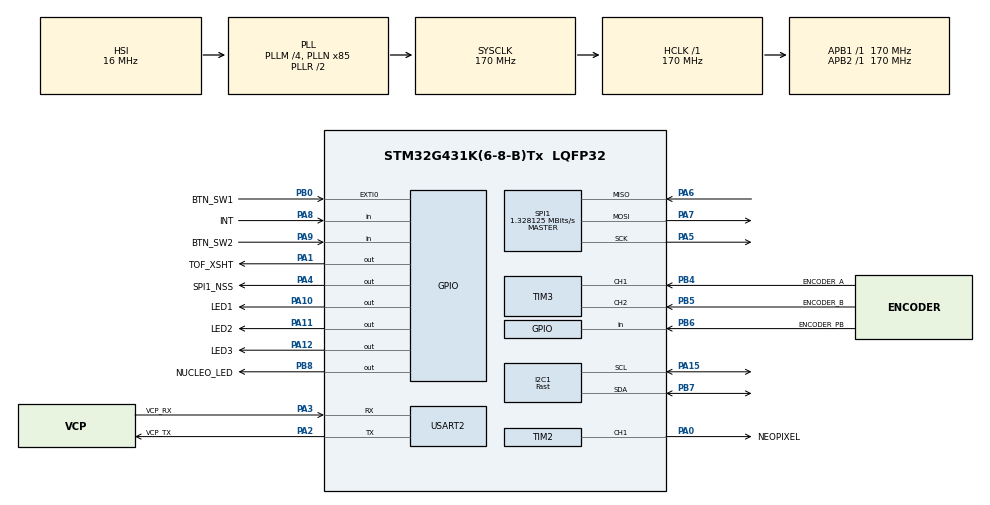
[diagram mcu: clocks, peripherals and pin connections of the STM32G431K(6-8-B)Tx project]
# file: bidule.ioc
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Dma.Request0=TIM2_CH1
Dma.TIM2_CH1.0.Direction=DMA_MEMORY_TO_PERIPH
Dma.TIM2_CH1.0.EventEnable=DISABLE
Dma.TIM2_CH1.0.Instance=DMA1_Channel1
Dma.TIM2_CH1.0.MemDataAlignment=DMA_MDATAALIGN_BYTE
Dma.TIM2_CH1.0.MemInc=DMA_MINC_ENABLE
Dma.TIM2_CH1.0.Mode=DMA_NORMAL
Dma.TIM2_CH1.0.PeriphDataAlignment=DMA_PDATAALIGN_WORD
Dma.TIM2_CH1.0.PeriphInc=DMA_PINC_DISABLE
Dma.TIM2_CH1.0.Polarity=HAL_DMAMUX_REQ_GEN_RISING
Dma.TIM2_CH1.0.Priority=DMA_PRIORITY_LOW
Dma.TIM2_CH1.0.RequestNumber=1
Dma.TIM2_CH1.0.SignalID=NONE
Dma.TIM2_CH1.0.SyncEnable=DISABLE
Dma.TIM2_CH1.0.SyncPolarity=HAL_DMAMUX_SYNC_NO_EVENT
Dma.TIM2_CH1.0.SyncRequestNumber=1
Dma.TIM2_CH1.0.SyncSignalID=NONE
I2C1.I2C_Speed_Mode=I2C_Fast
I2C1.Timing=0x40621236
Mcu.Family=STM32G4
Mcu.Name=STM32G431K(6-8-B)Tx
Mcu.Package=LQFP32
NVIC.DMA1_Channel1_IRQn=true\:0\:0\:false\:false\:true\:false\:true\:true
NVIC.I2C1_ER_IRQn=true\:0\:0\:false\:false\:true\:true\:true\:true
NVIC.I2C1_EV_IRQn=true\:0\:0\:false\:false\:true\:true\:true\:true
NVIC.PriorityGroup=NVIC_PRIORITYGROUP_4
NVIC.TIM2_IRQn=true\:0\:0\:false\:false\:true\:true\:true\:true
PA0.GPIO_Label=NEOPIXEL
PA0.Signal=S_TIM2_CH1
PA1.GPIO_Label=TOF_XSHT
PA1.Signal=GPIO_Output
PA10.GPIO_Label=LED1
PA10.Signal=GPIO_Output
PA11.GPIO_Label=LED2
PA11.Signal=GPIO_Output
PA12.GPIO_Label=LED3
PA12.Signal=GPIO_Output
PA13.GPIO_Label=T_SWDIO
PA13.Mode=Trace_Asynchronous_SW
PA13.Signal=SYS_JTMS-SWDIO
PA14.GPIO_Label=T_SWCLK
PA14.Mode=Trace_Asynchronous_SW
PA14.Signal=SYS_JTCK-SWCLK
PA15.GPIO_Pu=GPIO_PULLUP
PA15.Mode=I2C
PA15.Signal=I2C1_SCL
PA2.GPIO_Label=VCP_TX
PA2.Mode=Asynchronous
PA2.Signal=USART2_TX
PA3.GPIO_Label=VCP_RX
PA3.Mode=Asynchronous
PA3.Signal=USART2_RX
PA4.GPIO_Label=SPI1_NSS
PA4.PinState=GPIO_PIN_SET
PA4.Signal=GPIO_Output
PA5.GPIO_Speed=GPIO_SPEED_FREQ_LOW
PA5.Mode=Full_Duplex_Master
PA5.Signal=SPI1_SCK
PA6.GPIO_Speed=GPIO_SPEED_FREQ_LOW
PA6.Mode=Full_Duplex_Master
PA6.Signal=SPI1_MISO
PA7.GPIO_Speed=GPIO_SPEED_FREQ_LOW
PA7.Mode=Full_Duplex_Master
PA7.Signal=SPI1_MOSI
PA8.GPIO_Label=INT
PA8.Signal=GPIO_Input
PA9.GPIO_Label=BTN_SW2
PA9.GPIO_PuPd=GPIO_PULLUP
PA9.Signal=GPIO_Input
PB0.GPIO_Label=BTN_SW1
PB0.GPIO_PuPd=GPIO_PULLUP
PB0.Signal=GPXTI0
PB3.GPIO_Label=T_SWO
PB3.Mode=Trace_Asynchronous_SW
PB3.Signal=SYS_JTDO-SWO
PB4.GPIO_Label=ENCODER_A
PB4.GPIO_PuPd=GPIO_PULLUP
PB4.Signal=S_TIM3_CH1
PB5.GPIO_Label=ENCODER_B
PB5.GPIO_PuPd=GPIO_PULLUP
PB5.Signal=S_TIM3_CH2
PB6.GPIO_Label=ENCODER_PB
PB6.GPIO_PuPd=GPIO_PULLUP
PB6.Signal=GPIO_Input
PB7.GPIO_Pu=GPIO_PULLUP
PB7.Mode=I2C
PB7.Signal=I2C1_SDA
PB8-BOOT0.GPIO_Label=NUCLEO_LED
PB8-BOOT0.Signal=GPIO_Output
ProjectManager.HeapSize=0x200
ProjectManager.StackSize=0x400
ProjectManager.TargetToolchain=CMake
RCC.ADC12Freq_Value=170000000
RCC.AHBFreq_Value=170000000
RCC.APB1Freq_Value=170000000
RCC.APB1TimFreq_Value=170000000
RCC.APB2Freq_Value=170000000
RCC.APB2TimFreq_Value=170000000
RCC.CortexFreq_Value=170000000
RCC.EXTERNAL_CLOCK_VALUE=12288000
RCC.HCLKFreq_Value=170000000
RCC.HSE_VALUE=8000000
RCC.HSI48_VALUE=48000000
RCC.HSI_VALUE=16000000
RCC.LSE_VALUE=32768
RCC.PLLM=RCC_PLLM_DIV4
RCC.PLLN=85
RCC.SYSCLKFreq_VALUE=170000000
RCC.SYSCLKSource=RCC_SYSCLKSOURCE_PLLCLK
RCC.USBFreq_Value=170000000
RCC.VCOOutputFreq_Value=340000000
SH.S_TIM2_CH1.0=TIM2_CH1,PWM Generation1 CH1
SH.S_TIM3_CH1.0=TIM3_CH1,Encoder_Interface
SH.S_TIM3_CH2.0=TIM3_CH2,Encoder_Interface
SPI1.BaudRatePrescaler=SPI_BAUDRATEPRESCALER_128
SPI1.CLKPhase=SPI_PHASE_2EDGE
SPI1.CLKPolarity=SPI_POLARITY_HIGH
SPI1.CalculateBaudRate=1.328125 MBits/s
SPI1.DataSize=SPI_DATASIZE_8BIT
SPI1.Direction=SPI_DIRECTION_2LINES
SPI1.Mode=SPI_MODE_MASTER
SPI1.VirtualType=VM_MASTER
TIM2.Channel-PWM\ Generation1\ CH1=TIM_CHANNEL_1
TIM2.PeriodNoDither=(213-1)
USART2.VirtualMode-Asynchronous=VM_ASYNC
VP_SYS_VS_DBSignals.Mode=DisableDeadBatterySignals
board=NUCLEO-G431KB

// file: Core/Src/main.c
/* USER CODE BEGIN Header */
/**
 ******************************************************************************
 * @file           : main.c
 * @brief          : Main program body
 ******************************************************************************
 * @attention
 *
 * Copyright (c) 2026 STMicroelectronics.
 * All rights reserved.
 *
 * This software is licensed under terms that can be found in the LICENSE file
 * in the root directory of this software component.
 * If no LICENSE file comes with this software, it is provided AS-IS.
 *
 ******************************************************************************
 */
/* USER CODE END Header */
#include "main.h"
#include "dma.h"
#include "i2c.h"
#include "spi.h"
#include "tim.h"
#include "usart.h"
#include "gpio.h"

void SystemClock_Config(void);

/* USER CODE BEGIN 0 */

/*
Période du bit :
1250ns
212.5 ticks ~213
ARR = (213-1)

Bit 0 (T0H)
400ns
68 ticks
CCR = 68

Bit 1 (T1H)
800ns
136 ticks
CCR = 136
*/
#define CCR_T0H 68
#define CCR_T1H 136

#define LED_NUMBER 1
#define COLOR_NUMBER 3
#define BITS_PER_COLOR 8

#define NP_BUFFER_LENGTH (LED_NUMBER * COLOR_NUMBER * BITS_PER_COLOR + 1)

typedef struct color_struct {
	uint8_t r;
	uint8_t g;
	uint8_t b;
} color_t;

static color_t red   = {.r = 50, .g =  0, .b =  0};
static color_t green = {.r =  0, .g = 50, .b =  0};
static color_t blue  = {.r =  0, .g =  0, .b = 50};

uint8_t np_dma_buffer[NP_BUFFER_LENGTH];

/* Transformer une couleur (rgb) en tableau de 24 valeurs de CCR
 * Chaque periode de timer code un bit Neopixel
 * En gros, on construit le buffer DMA
 */
void color_to_buffer(color_t * color, uint8_t * buffer) {
	/* Green */
	for (int i = 0 ; i < BITS_PER_COLOR ; i++) {
		buffer[i] = ((color->g >> (7-i) & 0x01)) ? CCR_T1H : CCR_T0H;
	}
	/* Red */
	for (int i = 0 ; i < BITS_PER_COLOR ; i++) {
		buffer[BITS_PER_COLOR + i] = ((color->r >> (7-i) & 0x01)) ? CCR_T1H : CCR_T0H;
	}
	/* Blue */
	for (int i = 0 ; i < BITS_PER_COLOR ; i++) {
		buffer[2*BITS_PER_COLOR + i] = ((color->b >> (7-i) & 0x01)) ? CCR_T1H : CCR_T0H;
	}

	/* Dernier bit à 0 pour forcer un 0V sur le neopixel */
	buffer[NP_BUFFER_LENGTH-1] = 0;
}

/* Callback d'interruption de DMA de fin de transfert */
void HAL_TIM_PWM_PulseFinishedCallback(TIM_HandleTypeDef *htim)
{
	if (TIM2 == htim->Instance) {
		/* On arrête la PWM quand le transfert DMA est terminé */
		HAL_TIM_PWM_Stop_DMA(&htim2, TIM_CHANNEL_1);
	}
}
/* USER CODE END 0 */

int main(void)
{

	/* MCU Configuration--------------------------------------------------------*/

	/* Reset of all peripherals, Initializes the Flash interface and the Systick. */
	HAL_Init();

	/* Configure the system clock */
	SystemClock_Config();

	/* Initialize all configured peripherals */
	MX_GPIO_Init();
	MX_DMA_Init();
	MX_I2C1_Init();
	MX_TIM3_Init();
	MX_TIM2_Init();
	MX_USART2_UART_Init();
	MX_SPI1_Init();

	/* Infinite loop */
	/* USER CODE BEGIN WHILE */
	while (1)
	{
		color_to_buffer(&red, np_dma_buffer);

		HAL_TIM_PWM_Start_DMA (
				&htim2,
				TIM_CHANNEL_1,
				(uint32_t *)np_dma_buffer,
				NP_BUFFER_LENGTH
		);

		HAL_Delay(500);

		color_to_buffer(&green, np_dma_buffer);

		HAL_TIM_PWM_Start_DMA (
				&htim2,
				TIM_CHANNEL_1,
				(uint32_t *)np_dma_buffer,
				NP_BUFFER_LENGTH
		);

		HAL_Delay(500);

		color_to_buffer(&blue, np_dma_buffer);

		HAL_TIM_PWM_Start_DMA (
				&htim2,
				TIM_CHANNEL_1,
				(uint32_t *)np_dma_buffer,
				NP_BUFFER_LENGTH
		);

		HAL_Delay(500);
		/* USER CODE END WHILE */

	}
}

void SystemClock_Config(void)
{
	RCC_OscInitTypeDef RCC_OscInitStruct = {0};
	RCC_ClkInitTypeDef RCC_ClkInitStruct = {0};

	/** Configure the main internal regulator output voltage
	 */
	HAL_PWREx_ControlVoltageScaling(PWR_REGULATOR_VOLTAGE_SCALE1_BOOST);

	/** Initializes the RCC Oscillators according to the specified parameters
	 * in the RCC_OscInitTypeDef structure.
	 */
	RCC_OscInitStruct.OscillatorType = RCC_OSCILLATORTYPE_HSI;
	RCC_OscInitStruct.HSIState = RCC_HSI_ON;
	RCC_OscInitStruct.HSICalibrationValue = RCC_HSICALIBRATION_DEFAULT;
	RCC_OscInitStruct.PLL.PLLState = RCC_PLL_ON;
	RCC_OscInitStruct.PLL.PLLSource = RCC_PLLSOURCE_HSI;
	RCC_OscInitStruct.PLL.PLLM = RCC_PLLM_DIV4;
	RCC_OscInitStruct.PLL.PLLN = 85;
	RCC_OscInitStruct.PLL.PLLP = RCC_PLLP_DIV2;
	RCC_OscInitStruct.PLL.PLLQ = RCC_PLLQ_DIV2;
	RCC_OscInitStruct.PLL.PLLR = RCC_PLLR_DIV2;
	if (HAL_RCC_OscConfig(&RCC_OscInitStruct) != HAL_OK)
	{
		Error_Handler();
	}

	/** Initializes the CPU, AHB and APB buses clocks
	 */
	RCC_ClkInitStruct.ClockType = RCC_CLOCKTYPE_HCLK|RCC_CLOCKTYPE_SYSCLK
			|RCC_CLOCKTYPE_PCLK1|RCC_CLOCKTYPE_PCLK2;
	RCC_ClkInitStruct.SYSCLKSource = RCC_SYSCLKSOURCE_PLLCLK;
	RCC_ClkInitStruct.AHBCLKDivider = RCC_SYSCLK_DIV1;
	RCC_ClkInitStruct.APB1CLKDivider = RCC_HCLK_DIV1;
	RCC_ClkInitStruct.APB2CLKDivider = RCC_HCLK_DIV1;

	if (HAL_RCC_ClockConfig(&RCC_ClkInitStruct, FLASH_LATENCY_4) != HAL_OK)
	{
		Error_Handler();
	}
}

void Error_Handler(void)
{
	__disable_irq();
	while (1)
	{
	}
}
